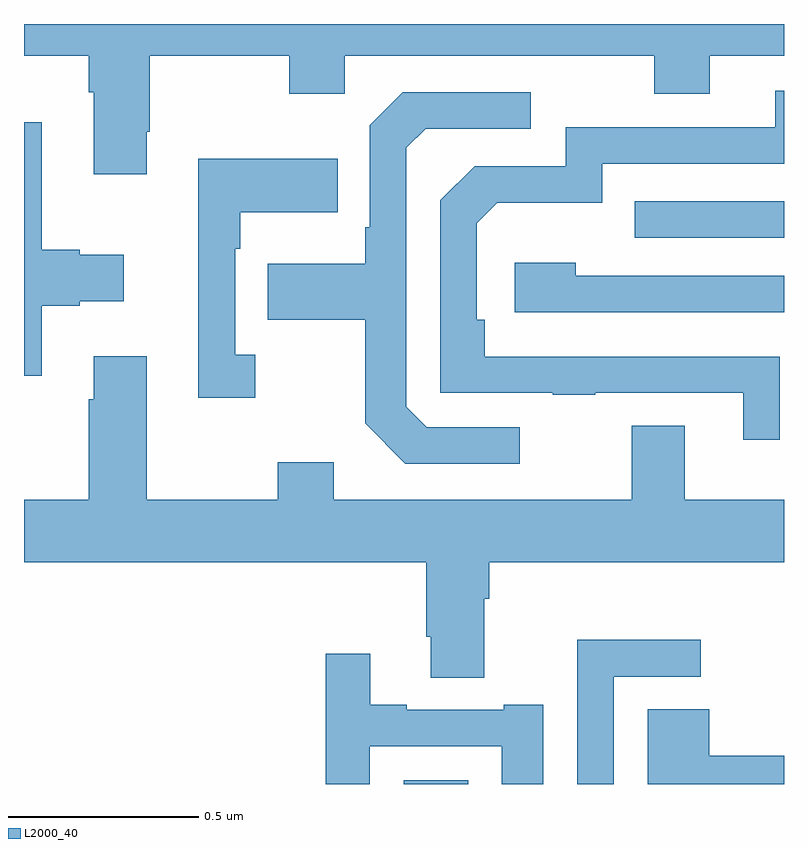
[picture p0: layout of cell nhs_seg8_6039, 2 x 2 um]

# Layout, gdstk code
import gdstk
lib = gdstk.Library(unit=1e-6, precision=1e-09)
def R(c, l, rs):  # rectangles x0, y0, x1, y1
    for r in rs: c.add(gdstk.rectangle(r[:2], r[2:], *l))
def P(c, l, *ps):  # polygons
    for p in ps: c.add(gdstk.Polygon(p, *l))
L2000_40 = (2000, 40)

nhs_seg8_6039 = lib.new_cell('nhs_seg8_6039')
R(nhs_seg8_6039, L2000_40, [(191.999,1131.9,192.169,1131.91), (192.607,1133.337,193,1133.433)])
P(nhs_seg8_6039, L2000_40, [(191.323,1133.617),(191.331,1133.617),(191.331,1133.816),(191.698,1133.816),(191.698,1133.717),(191.844,1133.717),(191.844,1133.816),(192.658,1133.816),(192.658,1133.717),(192.805,1133.717),(192.805,1133.816),(193,1133.816),(193,1133.9),(191,1133.9),(191,1133.816),(191.171,1133.816),(191.171,1133.72),(191.183,1133.72),(191.183,1133.505),(191.323,1133.505)],
  [(192.989,1133.024),(192.887,1133.024),(192.887,1133.025),(192.212,1133.025),(192.212,1133.122),(192.192,1133.122),(192.192,1133.376),(192.245,1133.429),(192.522,1133.429),(192.522,1133.532),(193,1133.532),(193,1133.724),(192.977,1133.724),(192.977,1133.628),(192.426,1133.628),(192.426,1133.526),(192.186,1133.526),(192.096,1133.436),(192.096,1132.929),(192.391,1132.929),(192.391,1132.924),(192.503,1132.924),(192.503,1132.929),(192.893,1132.929),(192.893,1132.806),(192.989,1132.806)],
  [(192.304,1132.839),(192.06,1132.839),(192.006,1132.893),(192.006,1133.574),(192.057,1133.625),(192.334,1133.625),(192.334,1133.721),(191.997,1133.721),(191.91,1133.634),(191.91,1133.365),(191.898,1133.365),(191.898,1133.269),(191.641,1133.269),(191.641,1133.122),(191.898,1133.122),(191.898,1132.849),(192.003,1132.743),(192.304,1132.743)],
  [(191.047,1133.159),(191.147,1133.159),(191.147,1133.171),(191.263,1133.171),(191.263,1133.293),(191.147,1133.293),(191.147,1133.306),(191.047,1133.306),(191.047,1133.641),(191,1133.641),(191,1132.974),(191.047,1132.974)],
  [(191.608,1133.03),(191.556,1133.03),(191.556,1133.309),(191.569,1133.309),(191.569,1133.405),(191.825,1133.405),(191.825,1133.545),(191.459,1133.545),(191.459,1132.917),(191.608,1132.917)],
  [(193,1133.238),(192.452,1133.238),(192.452,1133.272),(192.291,1133.272),(192.291,1133.142),(193,1133.142)],
  [(192.211,1132.388),(192.224,1132.388),(192.224,1132.484),(193,1132.484),(193,1132.648),(192.739,1132.648),(192.739,1132.843),(192.599,1132.843),(192.599,1132.648),(191.815,1132.648),(191.815,1132.747),(191.668,1132.747),(191.668,1132.648),(191.323,1132.648),(191.323,1133.026),(191.183,1133.026),(191.183,1132.913),(191.171,1132.913),(191.171,1132.648),(191,1132.648),(191,1132.484),(192.059,1132.484),(192.059,1132.288),(192.071,1132.288),(192.071,1132.18),(192.211,1132.18)],
  [(192.552,1132.182),(192.781,1132.182),(192.781,1132.28),(192.456,1132.28),(192.456,1131.9),(192.552,1131.9)],
  [(191.91,1131.999),(192.257,1131.999),(192.257,1131.9),(192.367,1131.9),(192.367,1132.108),(192.263,1132.108),(192.263,1132.095),(192.007,1132.095),(192.007,1132.108),(191.911,1132.108),(191.911,1132.243),(191.794,1132.243),(191.794,1131.9),(191.91,1131.9)],
  [(193,1131.974),(192.803,1131.974),(192.803,1132.097),(192.641,1132.097),(192.641,1131.9),(193,1131.9)])

lib.write_gds('nhs_seg8_6039.gds')
